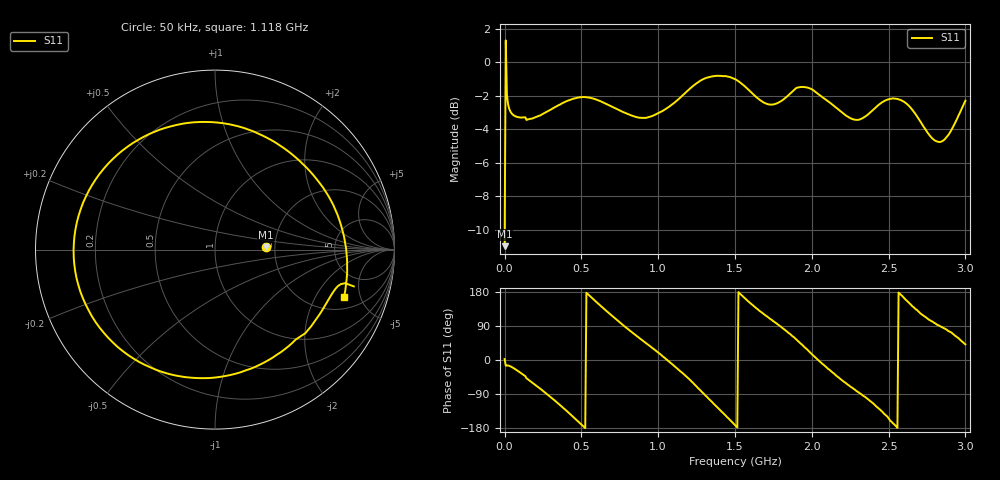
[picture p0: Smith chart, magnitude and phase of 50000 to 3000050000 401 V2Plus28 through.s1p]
! NanoVNA-App
! Date: 2020-11-14 10:24:41
! Start: 50kHz Stop: 3.0001GHz Points: 401
! S-Parameter data: F S11
# Hz S RI R 50
!  Frequency  S11 Real  S11 Imag
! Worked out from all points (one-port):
!   401 points, 50 kHz to 3 GHz, reference 50 ohm
!   lowest |S11| = -11.0 dB at 50 kHz (marker M1), VSWR 1.79, Z = 89.2 + j2.49 ohm
!   |S11| at or under -10 dB: start of sweep to 651.7 kHz
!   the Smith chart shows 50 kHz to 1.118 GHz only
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50000  0.282 0.0128
2.255e7  0.7261 -0.1872
2.4005e8  0.1423 -0.6836
3.7505e8  -0.4225 -0.6261
4.6505e8  -0.7213 -0.3045
5.4755e8  -0.7775 0.1127
6.5255e8  -0.5154 0.5522
7.5005e8  -0.1158 0.7094
8.4755e8  0.266 0.6348
9.6755e8  0.6008 0.3474
1.12505e9  0.7098 -0.3023
1.21505e9  0.4722 -0.6969
1.31255e9  -0.0869 -0.8953
1.39505e9  -0.5695 -0.7133
1.50005e9  -0.8821 -0.1302
1.59005e9  -0.7395 0.3702
1.65755e9  -0.5014 0.5916
1.77755e9  -0.0531 0.7544
1.87505e9  0.379 0.7269
1.96505e9  0.732 0.4174
2.03255e9  0.8095 0.0459
2.14505e9  0.601 -0.4337
2.25005e9  0.2342 -0.6403
2.44505e9  -0.4945 -0.5684
2.53505e9  -0.7664 -0.1459
2.62505e9  -0.6709 0.3298
2.73005e9  -0.2812 0.5753
3.00005e9  0.5787 0.5057
